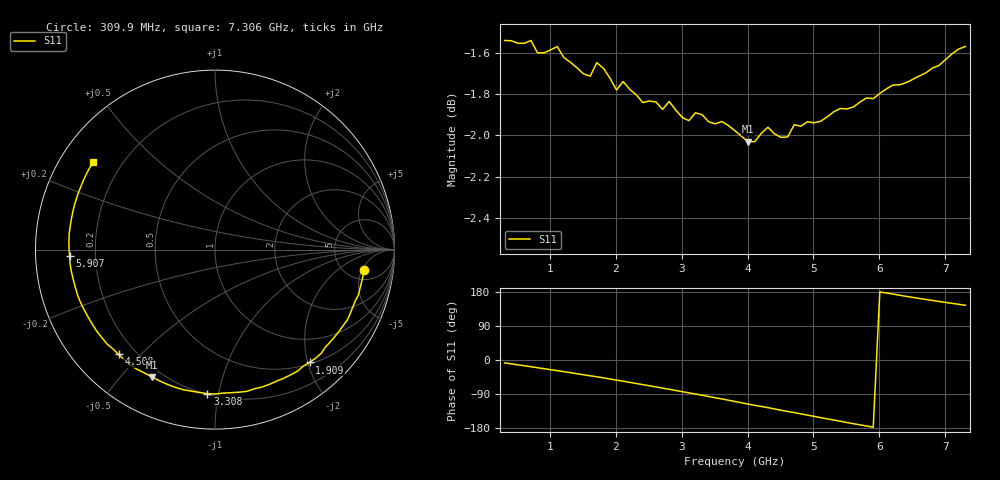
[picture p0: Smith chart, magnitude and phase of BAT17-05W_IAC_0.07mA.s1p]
! Infineon Technologies  Discrete & RF Semiconductors
! BAT17-05W
! IAC = 0.07 mA
! One-Port S-Parameters
# Hz  S  MA  R  50
!f  S11
!Hz  Mag  Ang
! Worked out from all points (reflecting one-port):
!   71 points, 309.9 MHz to 7.306 GHz, reference 50 ohm
!   lowest |S11| = -2.0 dB at 4.008 GHz (marker M1), VSWR 8.59, Z = 8.02 - j30.4 ohm
!   phase of S11 starts at -8 deg and turns -208 deg over the sweep
!   S11 on the Smith chart (normalised r, x): 309.9 MHz: 7.21, -5.41; 1.909 GHz: 0.53, -2.03; 3.308 GHz: 0.20, -0.93; 4.508 GHz: 0.14, -0.43; 5.907 GHz: 0.10, -0.02; 7.306 GHz: 0.10, +0.32
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3.0985e8  0.8377 -7.7
7.0965e8  0.8377 -17.7
1.10945e9  0.8348 -28.1
1.2094e9  0.8297 -30.7
1.6092e9  0.8211 -41.7
1.70915e9  0.8273 -44.2
1.90905e9  0.8202 -50.1
2.10895e9  0.8186 -55.9
2.6087e9  0.8093 -71.1
2.8086e9  0.8095 -77.2
3.0085e9  0.8023 -83.6
3.30835e9  0.8036 -93.0
3.6082e9  0.8005 -102.8
3.8081e9  0.7964 -109.5
4.008e9  0.7915 -116.4
4.30785e9  0.798 -125.7
4.50775e9  0.7934 -132.6
4.70765e9  0.7991 -138.8
5.0075e9  0.8 -148.8
5.2074e9  0.8026 -155.3
5.4073e9  0.8064 -161.6
5.6072e9  0.8071 -168.1
5.90705e9  0.8108 -177.4
6.2069e9  0.8171 173.9
6.50675e9  0.8196 165.2
6.8066e9  0.8249 157.1
7.10645e9  0.8315 149.4
7.30635e9  0.8348 144.4
